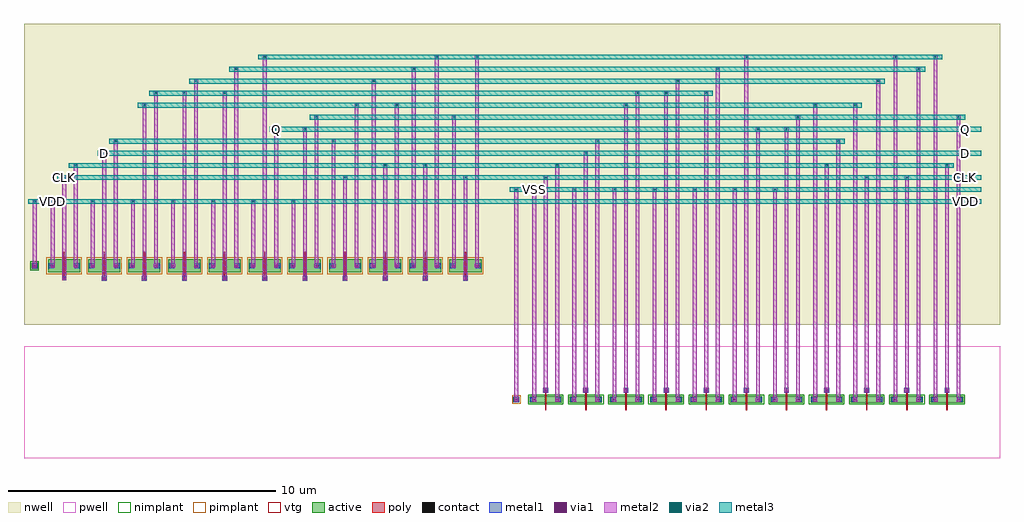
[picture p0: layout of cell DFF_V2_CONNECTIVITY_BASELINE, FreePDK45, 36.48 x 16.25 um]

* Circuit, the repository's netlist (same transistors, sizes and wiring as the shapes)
* cell DFF_V2_CONNECTIVITY_BASELINE
* pin CLK
* pin D
* pin Q
* pin VDD
* pin VSS
.SUBCKT DFF_V2_CONNECTIVITY_BASELINE 1 2 9 13 14
* net 1 CLK
* net 2 D
* net 9 Q
* net 13 VDD
* net 14 VSS
* device instance $1 r0 *1 16.2,7 PMOS_VTG
M$1 12 1 10 13 PMOS_VTG L=0.05U W=0.5U AS=0.2875P AD=0.2875P PS=2.15U PD=2.15U
* device instance $2 r0 *1 14.7,7 PMOS_VTG
M$2 12 4 8 13 PMOS_VTG L=0.05U W=0.5U AS=0.2875P AD=0.2875P PS=2.15U PD=2.15U
* device instance $3 r0 *1 13.2,7 PMOS_VTG
M$3 3 4 7 13 PMOS_VTG L=0.05U W=0.5U AS=0.2875P AD=0.2875P PS=2.15U PD=2.15U
* device instance $4 r0 *1 11.7,7 PMOS_VTG
M$4 3 1 6 13 PMOS_VTG L=0.05U W=0.5U AS=0.2875P AD=0.2875P PS=2.15U PD=2.15U
* device instance $5 r0 *1 10.2,7 PMOS_VTG
M$5 10 9 13 13 PMOS_VTG L=0.05U W=0.5U AS=0.2875P AD=0.2875P PS=2.15U PD=2.15U
* device instance $6 r0 *1 2.7,7 PMOS_VTG
M$6 6 2 13 13 PMOS_VTG L=0.05U W=0.5U AS=0.2875P AD=0.2875P PS=2.15U PD=2.15U
* device instance $7 r0 *1 1.2,7 PMOS_VTG
M$7 4 11 13 13 PMOS_VTG L=0.05U W=0.5U AS=0.2875P AD=0.2875P PS=2.15U PD=2.15U
* device instance $8 r0 *1 8.7,7 PMOS_VTG
M$8 9 12 13 13 PMOS_VTG L=0.05U W=0.5U AS=0.2875P AD=0.2875P PS=2.15U PD=2.15U
* device instance $9 r0 *1 4.2,7 PMOS_VTG
M$9 5 3 13 13 PMOS_VTG L=0.05U W=0.5U AS=0.2875P AD=0.2875P PS=2.15U PD=2.15U
* device instance $10 r0 *1 7.2,7 PMOS_VTG
M$10 8 5 13 13 PMOS_VTG L=0.05U W=0.5U AS=0.2875P AD=0.2875P PS=2.15U PD=2.15U
* device instance $11 r0 *1 5.7,7 PMOS_VTG
M$11 7 5 13 13 PMOS_VTG L=0.05U W=0.5U AS=0.2875P AD=0.2875P PS=2.15U PD=2.15U
* device instance $12 r0 *1 34.2,2 NMOS_VTG
M$12 10 4 12 14 NMOS_VTG L=0.05U W=0.25U AS=0.14375P AD=0.14375P PS=1.65U
+ PD=1.65U
* device instance $13 r0 *1 29.7,2 NMOS_VTG
M$13 6 4 3 14 NMOS_VTG L=0.05U W=0.25U AS=0.14375P AD=0.14375P PS=1.65U PD=1.65U
* device instance $14 r0 *1 32.7,2 NMOS_VTG
M$14 8 1 12 14 NMOS_VTG L=0.05U W=0.25U AS=0.14375P AD=0.14375P PS=1.65U
+ PD=1.65U
* device instance $15 r0 *1 28.2,2 NMOS_VTG
M$15 10 9 14 14 NMOS_VTG L=0.05U W=0.25U AS=0.14375P AD=0.14375P PS=1.65U
+ PD=1.65U
* device instance $16 r0 *1 19.2,2 NMOS_VTG
M$16 4 1 14 14 NMOS_VTG L=0.05U W=0.25U AS=0.14375P AD=0.14375P PS=1.65U
+ PD=1.65U
* device instance $17 r0 *1 31.2,2 NMOS_VTG
M$17 7 1 3 14 NMOS_VTG L=0.05U W=0.25U AS=0.14375P AD=0.14375P PS=1.65U PD=1.65U
* device instance $18 r0 *1 26.7,2 NMOS_VTG
M$18 9 12 14 14 NMOS_VTG L=0.05U W=0.25U AS=0.14375P AD=0.14375P PS=1.65U
+ PD=1.65U
* device instance $19 r0 *1 20.7,2 NMOS_VTG
M$19 6 2 14 14 NMOS_VTG L=0.05U W=0.25U AS=0.14375P AD=0.14375P PS=1.65U
+ PD=1.65U
* device instance $20 r0 *1 23.7,2 NMOS_VTG
M$20 7 5 14 14 NMOS_VTG L=0.05U W=0.25U AS=0.14375P AD=0.14375P PS=1.65U
+ PD=1.65U
* device instance $21 r0 *1 25.2,2 NMOS_VTG
M$21 8 5 14 14 NMOS_VTG L=0.05U W=0.25U AS=0.14375P AD=0.14375P PS=1.65U
+ PD=1.65U
* device instance $22 r0 *1 22.2,2 NMOS_VTG
M$22 5 3 14 14 NMOS_VTG L=0.05U W=0.25U AS=0.14375P AD=0.14375P PS=1.65U
+ PD=1.65U
.ENDS DFF_V2_CONNECTIVITY_BASELINE

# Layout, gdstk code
import gdstk
lib = gdstk.Library(unit=1e-6, precision=5e-10)
def R(c, l, rs):  # rectangles x0, y0, x1, y1
    for r in rs: c.add(gdstk.rectangle(r[:2], r[2:], *l))
def A(c, l, x, y, w, h, nx, ny, dx, dy):  # array of equal rectangles
    R(c, l, [(x+i*dx, y+j*dy, x+i*dx+w, y+j*dy+h) for i in range(nx) for j in range(ny)])
active = (1, 0)
pwell = (2, 0)
nwell = (3, 0)
nimplant = (4, 0)
pimplant = (5, 0)
vtg = (6, 0)
poly = (9, 0)
contact = (10, 0)
metal1 = (11, 0)
via1 = (12, 0)
metal2 = (13, 0)
via2 = (14, 0)
metal3 = (15, 0)

dff_v2_connectivity_base = lib.new_cell('DFF_V2_CONNECTIVITY_BASELINE')
A(dff_v2_connectivity_base, active, 18.6, 1.875, 1.2, 0.25, 11, 1, 1.5, 0)
A(dff_v2_connectivity_base, active, 0.6, 6.75, 1.2, 0.5, 11, 1, 1.5, 0)
R(dff_v2_connectivity_base, active, [(17.99,1.89,18.21,2.11), (-0.01,6.89,0.21,7.11)])
R(dff_v2_connectivity_base, pwell, [(-0.3,-0.2,36.18,4)])
R(dff_v2_connectivity_base, nwell, [(-0.3,4.8,36.18,16.05)])
A(dff_v2_connectivity_base, nimplant, 18.54, 1.815, 1.32, 0.37, 11, 1, 1.5, 0)
R(dff_v2_connectivity_base, nimplant, [(-0.06,6.84,0.26,7.16)])
A(dff_v2_connectivity_base, pimplant, 0.54, 6.69, 1.32, 0.62, 11, 1, 1.5, 0)
R(dff_v2_connectivity_base, pimplant, [(17.94,1.84,18.26,2.16)])
A(dff_v2_connectivity_base, vtg, 19.165, 1.845, 0.07, 0.31, 11, 1, 1.5, 0)
A(dff_v2_connectivity_base, vtg, 1.165, 6.72, 0.07, 0.56, 11, 1, 1.5, 0)
A(dff_v2_connectivity_base, poly, 19.175, 1.595, 0.05, 0.81, 11, 1, 1.5, 0)
A(dff_v2_connectivity_base, poly, 1.175, 6.47, 0.05, 1.06, 11, 1, 1.5, 0)
A(dff_v2_connectivity_base, contact, 19.17, 2.315, 0.065, 0.065, 11, 1, 1.5, 0)
A(dff_v2_connectivity_base, contact, 2.67, 6.5, 0.065, 0.065, 10, 1, 1.5, 0)
R(dff_v2_connectivity_base, contact, [(18.07,1.97,18.135,2.035), (18.69,1.97,18.755,2.035), (19.65,1.97,19.715,2.035), (20.19,1.97,20.255,2.035), (21.15,1.97,21.215,2.035), (21.69,1.97,21.755,2.035), (22.65,1.97,22.715,2.035), (23.19,1.97,23.255,2.035), (24.15,1.97,24.215,2.035), (24.69,1.97,24.755,2.035), (25.65,1.97,25.715,2.035), (26.19,1.97,26.255,2.035), (27.15,1.97,27.215,2.035), (27.69,1.97,27.755,2.035), (28.65,1.97,28.715,2.035), (29.19,1.97,29.255,2.035), (30.15,1.97,30.215,2.035), (30.69,1.97,30.755,2.035), (31.65,1.97,31.715,2.035), (32.19,1.97,32.255,2.035), (33.15,1.97,33.215,2.035), (33.69,1.97,33.755,2.035), (34.65,1.97,34.715,2.035), (0.07,6.97,0.135,7.035), (0.69,6.97,0.755,7.035), (1.65,6.97,1.715,7.035), (2.19,6.97,2.255,7.035), (3.15,6.97,3.215,7.035), (3.69,6.97,3.755,7.035), (4.65,6.97,4.715,7.035), (5.19,6.97,5.255,7.035), (6.15,6.97,6.215,7.035), (6.69,6.97,6.755,7.035), (7.65,6.97,7.715,7.035), (8.19,6.97,8.255,7.035), (9.15,6.97,9.215,7.035), (9.69,6.97,9.755,7.035), (10.65,6.97,10.715,7.035), (11.19,6.97,11.255,7.035), (12.15,6.97,12.215,7.035), (12.69,6.97,12.755,7.035), (13.65,6.97,13.715,7.035), (14.19,6.97,14.255,7.035), (15.15,6.97,15.215,7.035), (15.69,6.97,15.755,7.035), (16.65,6.97,16.715,7.035)])
A(dff_v2_connectivity_base, metal1, 19.11, 2.255, 0.18, 0.18, 11, 1, 1.5, 0)
A(dff_v2_connectivity_base, metal1, 19.125, 2.27, 0.15, 0.15, 11, 1, 1.5, 0)
A(dff_v2_connectivity_base, metal1, 2.61, 6.44, 0.18, 0.18, 10, 1, 1.5, 0)
A(dff_v2_connectivity_base, metal1, 1.125, 6.455, 0.15, 0.15, 11, 1, 1.5, 0)
R(dff_v2_connectivity_base, metal1, [(18,1.9,18.2,2.1), (18.63,1.91,18.81,2.09), (19.59,1.91,19.77,2.09), (20.13,1.91,20.31,2.09), (21.09,1.91,21.27,2.09), (21.63,1.91,21.81,2.09), (22.59,1.91,22.77,2.09), (23.13,1.91,23.31,2.09), (24.09,1.91,24.27,2.09), (24.63,1.91,24.81,2.09), (25.59,1.91,25.77,2.09), (26.13,1.91,26.31,2.09), (27.09,1.91,27.27,2.09), (27.63,1.91,27.81,2.09), (28.59,1.91,28.77,2.09), (29.13,1.91,29.31,2.09), (30.09,1.91,30.27,2.09), (30.63,1.91,30.81,2.09), (31.59,1.91,31.77,2.09), (32.13,1.91,32.31,2.09), (33.09,1.91,33.27,2.09), (33.63,1.91,33.81,2.09), (34.59,1.91,34.77,2.09), (18.025,1.925,18.175,2.075), (18.025,1.925,18.175,2.075), (18.025,1.925,18.175,2.075), (18.025,1.925,18.175,2.075), (18.025,1.925,18.175,2.075), (18.025,1.925,18.175,2.075), (18.025,1.925,18.175,2.075), (18.025,1.925,18.175,2.075), (18.025,1.925,18.175,2.075), (18.025,1.925,18.175,2.075), (18.025,1.925,18.175,2.075), (18.025,1.925,18.175,2.075), (18.695,1.925,18.845,2.075), (19.555,1.925,19.705,2.075), (20.195,1.925,20.345,2.075), (21.055,1.925,21.205,2.075), (21.695,1.925,21.845,2.075), (22.555,1.925,22.705,2.075), (23.195,1.925,23.345,2.075), (24.055,1.925,24.205,2.075), (24.695,1.925,24.845,2.075), (25.555,1.925,25.705,2.075), (26.195,1.925,26.345,2.075), (27.055,1.925,27.205,2.075), (27.695,1.925,27.845,2.075), (28.555,1.925,28.705,2.075), (29.195,1.925,29.345,2.075), (30.055,1.925,30.205,2.075), (30.695,1.925,30.845,2.075), (31.555,1.925,31.705,2.075), (32.195,1.925,32.345,2.075), (33.055,1.925,33.205,2.075), (33.695,1.925,33.845,2.075), (34.555,1.925,34.705,2.075), (0,6.9,0.2,7.1), (0.63,6.91,0.81,7.09), (1.59,6.91,1.77,7.09), (2.13,6.91,2.31,7.09), (3.09,6.91,3.27,7.09), (3.63,6.91,3.81,7.09), (4.59,6.91,4.77,7.09), (5.13,6.91,5.31,7.09), (6.09,6.91,6.27,7.09), (6.63,6.91,6.81,7.09), (7.59,6.91,7.77,7.09), (8.13,6.91,8.31,7.09), (9.09,6.91,9.27,7.09), (9.63,6.91,9.81,7.09), (10.59,6.91,10.77,7.09), (11.13,6.91,11.31,7.09), (12.09,6.91,12.27,7.09), (12.63,6.91,12.81,7.09), (13.59,6.91,13.77,7.09), (14.13,6.91,14.31,7.09), (15.09,6.91,15.27,7.09), (15.63,6.91,15.81,7.09), (16.59,6.91,16.77,7.09), (0.025,6.925,0.175,7.075), (0.025,6.925,0.175,7.075), (0.025,6.925,0.175,7.075), (0.025,6.925,0.175,7.075), (0.025,6.925,0.175,7.075), (0.025,6.925,0.175,7.075), (0.025,6.925,0.175,7.075), (0.025,6.925,0.175,7.075), (0.025,6.925,0.175,7.075), (0.025,6.925,0.175,7.075), (0.025,6.925,0.175,7.075), (0.025,6.925,0.175,7.075), (0.695,6.925,0.845,7.075), (1.555,6.925,1.705,7.075), (2.195,6.925,2.345,7.075), (3.055,6.925,3.205,7.075), (3.695,6.925,3.845,7.075), (4.555,6.925,4.705,7.075), (5.195,6.925,5.345,7.075), (6.055,6.925,6.205,7.075), (6.695,6.925,6.845,7.075), (7.555,6.925,7.705,7.075), (8.195,6.925,8.345,7.075), (9.055,6.925,9.205,7.075), (9.695,6.925,9.845,7.075), (10.555,6.925,10.705,7.075), (11.195,6.925,11.345,7.075), (12.055,6.925,12.205,7.075), (12.695,6.925,12.845,7.075), (13.555,6.925,13.705,7.075), (14.195,6.925,14.345,7.075), (15.055,6.925,15.205,7.075), (15.695,6.925,15.845,7.075), (16.555,6.925,16.705,7.075)])
A(dff_v2_connectivity_base, via1, 19.17, 2.315, 0.065, 0.065, 11, 1, 1.5, 0)
A(dff_v2_connectivity_base, via1, 1.17, 6.5, 0.065, 0.065, 11, 1, 1.5, 0)
R(dff_v2_connectivity_base, via1, [(18.07,1.97,18.135,2.035), (18.07,1.97,18.135,2.035), (18.07,1.97,18.135,2.035), (18.07,1.97,18.135,2.035), (18.07,1.97,18.135,2.035), (18.07,1.97,18.135,2.035), (18.07,1.97,18.135,2.035), (18.07,1.97,18.135,2.035), (18.07,1.97,18.135,2.035), (18.07,1.97,18.135,2.035), (18.07,1.97,18.135,2.035), (18.07,1.97,18.135,2.035), (18.74,1.97,18.805,2.035), (19.6,1.97,19.665,2.035), (20.24,1.97,20.305,2.035), (21.1,1.97,21.165,2.035), (21.74,1.97,21.805,2.035), (22.6,1.97,22.665,2.035), (23.24,1.97,23.305,2.035), (24.1,1.97,24.165,2.035), (24.74,1.97,24.805,2.035), (25.6,1.97,25.665,2.035), (26.24,1.97,26.305,2.035), (27.1,1.97,27.165,2.035), (27.74,1.97,27.805,2.035), (28.6,1.97,28.665,2.035), (29.24,1.97,29.305,2.035), (30.1,1.97,30.165,2.035), (30.74,1.97,30.805,2.035), (31.6,1.97,31.665,2.035), (32.24,1.97,32.305,2.035), (33.1,1.97,33.165,2.035), (33.74,1.97,33.805,2.035), (34.6,1.97,34.665,2.035), (0.07,6.97,0.135,7.035), (0.07,6.97,0.135,7.035), (0.07,6.97,0.135,7.035), (0.07,6.97,0.135,7.035), (0.07,6.97,0.135,7.035), (0.07,6.97,0.135,7.035), (0.07,6.97,0.135,7.035), (0.07,6.97,0.135,7.035), (0.07,6.97,0.135,7.035), (0.07,6.97,0.135,7.035), (0.07,6.97,0.135,7.035), (0.07,6.97,0.135,7.035), (0.74,6.97,0.805,7.035), (1.6,6.97,1.665,7.035), (2.24,6.97,2.305,7.035), (3.1,6.97,3.165,7.035), (3.74,6.97,3.805,7.035), (4.6,6.97,4.665,7.035), (5.24,6.97,5.305,7.035), (6.1,6.97,6.165,7.035), (6.74,6.97,6.805,7.035), (7.6,6.97,7.665,7.035), (8.24,6.97,8.305,7.035), (9.1,6.97,9.165,7.035), (9.74,6.97,9.805,7.035), (10.6,6.97,10.665,7.035), (11.24,6.97,11.305,7.035), (12.1,6.97,12.165,7.035), (12.74,6.97,12.805,7.035), (13.6,6.97,13.665,7.035), (14.24,6.97,14.305,7.035), (15.1,6.97,15.165,7.035), (15.74,6.97,15.805,7.035), (16.6,6.97,16.665,7.035)])
A(dff_v2_connectivity_base, metal2, 18.7, 2, 0.14, 7.85, 7, 1, 1.5, 0)
A(dff_v2_connectivity_base, metal2, 19.125, 2.27, 0.15, 0.15, 11, 1, 1.5, 0)
A(dff_v2_connectivity_base, metal2, 1.125, 6.455, 0.15, 0.15, 11, 1, 1.5, 0)
A(dff_v2_connectivity_base, metal2, 0.7, 7, 0.14, 2.4, 7, 1, 1.5, 0)
A(dff_v2_connectivity_base, metal2, 0.695, 9.325, 0.15, 0.15, 7, 1, 1.5, 0)
A(dff_v2_connectivity_base, metal2, 18.695, 9.775, 0.15, 0.15, 7, 1, 1.5, 0)
R(dff_v2_connectivity_base, metal2, [(18.025,1.925,18.175,2.075), (18.025,1.925,18.175,2.075), (18.025,1.925,18.175,2.075), (18.025,1.925,18.175,2.075), (18.025,1.925,18.175,2.075), (18.025,1.925,18.175,2.075), (18.025,1.925,18.175,2.075), (18.025,1.925,18.175,2.075), (18.025,1.925,18.175,2.075), (18.025,1.925,18.175,2.075), (18.025,1.925,18.175,2.075), (18.025,1.925,18.175,2.075), (18.695,1.925,18.845,2.075), (19.555,1.925,19.705,2.075), (20.195,1.925,20.345,2.075), (21.055,1.925,21.205,2.075), (21.695,1.925,21.845,2.075), (22.555,1.925,22.705,2.075), (23.195,1.925,23.345,2.075), (24.055,1.925,24.205,2.075), (24.695,1.925,24.845,2.075), (25.555,1.925,25.705,2.075), (26.195,1.925,26.345,2.075), (27.055,1.925,27.205,2.075), (27.695,1.925,27.845,2.075), (28.555,1.925,28.705,2.075), (29.195,1.925,29.345,2.075), (30.055,1.925,30.205,2.075), (30.695,1.925,30.845,2.075), (31.555,1.925,31.705,2.075), (32.195,1.925,32.345,2.075), (33.055,1.925,33.205,2.075), (33.695,1.925,33.845,2.075), (34.555,1.925,34.705,2.075), (18.03,2,18.17,9.85), (18.03,2,18.17,9.85), (18.03,2,18.17,9.85), (18.03,2,18.17,9.85), (18.03,2,18.17,9.85), (18.03,2,18.17,9.85), (18.03,2,18.17,9.85), (18.03,2,18.17,9.85), (18.03,2,18.17,9.85), (18.03,2,18.17,9.85), (18.03,2,18.17,9.85), (18.03,2,18.17,9.85), (19.56,2,19.7,10.75), (21.06,2,21.2,11.65), (22.56,2,22.7,13.45), (24.06,2,24.2,13.9), (25.56,2,25.7,14.35), (27.06,2,27.2,12.1), (28.56,2,28.7,12.55), (29.2,2,29.34,13), (30.06,2,30.2,11.65), (30.7,2,30.84,13), (31.56,2,31.7,13.9), (32.2,2,32.34,14.8), (33.06,2,33.2,14.35), (33.7,2,33.84,14.8), (34.56,2,34.7,12.55), (19.13,2.345,19.27,10.3), (20.63,2.345,20.77,11.2), (22.13,2.345,22.27,13), (23.63,2.345,23.77,13.45), (25.13,2.345,25.27,13.45), (26.63,2.345,26.77,14.8), (28.13,2.345,28.27,12.1), (29.63,2.345,29.77,10.75), (31.13,2.345,31.27,10.3), (32.63,2.345,32.77,10.3), (34.13,2.345,34.27,10.75), (1.13,6.53,1.27,10.3), (2.63,6.53,2.77,11.2), (4.13,6.53,4.27,13), (5.63,6.53,5.77,13.45), (7.13,6.53,7.27,13.45), (8.63,6.53,8.77,14.8), (10.13,6.53,10.27,12.1), (11.63,6.53,11.77,10.3), (13.13,6.53,13.27,10.75), (14.63,6.53,14.77,10.75), (16.13,6.53,16.27,10.3), (0.025,6.925,0.175,7.075), (0.025,6.925,0.175,7.075), (0.025,6.925,0.175,7.075), (0.025,6.925,0.175,7.075), (0.025,6.925,0.175,7.075), (0.025,6.925,0.175,7.075), (0.025,6.925,0.175,7.075), (0.025,6.925,0.175,7.075), (0.025,6.925,0.175,7.075), (0.025,6.925,0.175,7.075), (0.025,6.925,0.175,7.075), (0.025,6.925,0.175,7.075), (0.695,6.925,0.845,7.075), (1.555,6.925,1.705,7.075), (2.195,6.925,2.345,7.075), (3.055,6.925,3.205,7.075), (3.695,6.925,3.845,7.075), (4.555,6.925,4.705,7.075), (5.195,6.925,5.345,7.075), (6.055,6.925,6.205,7.075), (6.695,6.925,6.845,7.075), (7.555,6.925,7.705,7.075), (8.195,6.925,8.345,7.075), (9.055,6.925,9.205,7.075), (9.695,6.925,9.845,7.075), (10.555,6.925,10.705,7.075), (11.195,6.925,11.345,7.075), (12.055,6.925,12.205,7.075), (12.695,6.925,12.845,7.075), (13.555,6.925,13.705,7.075), (14.195,6.925,14.345,7.075), (15.055,6.925,15.205,7.075), (15.695,6.925,15.845,7.075), (16.555,6.925,16.705,7.075), (0.03,7,0.17,9.4), (0.03,7,0.17,9.4), (0.03,7,0.17,9.4), (0.03,7,0.17,9.4), (0.03,7,0.17,9.4), (0.03,7,0.17,9.4), (0.03,7,0.17,9.4), (0.03,7,0.17,9.4), (0.03,7,0.17,9.4), (0.03,7,0.17,9.4), (0.03,7,0.17,9.4), (0.03,7,0.17,9.4), (1.56,7,1.7,10.75), (3.06,7,3.2,11.65), (4.56,7,4.7,13.45), (6.06,7,6.2,13.9), (7.56,7,7.7,14.35), (9.06,7,9.2,12.1), (10.56,7,10.7,12.55), (11.2,7,11.34,11.65), (12.06,7,12.2,13), (12.7,7,12.84,13.9), (13.56,7,13.7,13), (14.2,7,14.34,14.35), (15.06,7,15.2,14.8), (15.7,7,15.84,12.55), (16.56,7,16.7,14.8), (0.025,9.325,0.175,9.475), (0.025,9.325,0.175,9.475), (0.025,9.325,0.175,9.475), (0.025,9.325,0.175,9.475), (0.025,9.325,0.175,9.475), (0.025,9.325,0.175,9.475), (0.025,9.325,0.175,9.475), (0.025,9.325,0.175,9.475), (0.025,9.325,0.175,9.475), (0.025,9.325,0.175,9.475), (0.025,9.325,0.175,9.475), (0.025,9.325,0.175,9.475), (18.025,9.775,18.175,9.925), (18.025,9.775,18.175,9.925), (18.025,9.775,18.175,9.925), (18.025,9.775,18.175,9.925), (18.025,9.775,18.175,9.925), (18.025,9.775,18.175,9.925), (18.025,9.775,18.175,9.925), (18.025,9.775,18.175,9.925), (18.025,9.775,18.175,9.925), (18.025,9.775,18.175,9.925), (18.025,9.775,18.175,9.925), (18.025,9.775,18.175,9.925), (1.125,10.225,1.275,10.375), (11.625,10.225,11.775,10.375), (16.125,10.225,16.275,10.375), (19.125,10.225,19.275,10.375), (31.125,10.225,31.275,10.375), (32.625,10.225,32.775,10.375), (1.555,10.675,1.705,10.825), (13.125,10.675,13.275,10.825), (14.625,10.675,14.775,10.825), (19.555,10.675,19.705,10.825), (29.625,10.675,29.775,10.825), (34.125,10.675,34.275,10.825), (2.625,11.125,2.775,11.275), (20.625,11.125,20.775,11.275), (3.055,11.575,3.205,11.725), (11.195,11.575,11.345,11.725), (21.055,11.575,21.205,11.725), (30.055,11.575,30.205,11.725), (9.055,12.025,9.205,12.175), (10.125,12.025,10.275,12.175), (27.055,12.025,27.205,12.175), (28.125,12.025,28.275,12.175), (10.555,12.475,10.705,12.625), (15.695,12.475,15.845,12.625), (28.555,12.475,28.705,12.625), (34.555,12.475,34.705,12.625), (4.125,12.925,4.275,13.075), (12.055,12.925,12.205,13.075), (13.555,12.925,13.705,13.075), (22.125,12.925,22.275,13.075), (29.195,12.925,29.345,13.075), (30.695,12.925,30.845,13.075), (4.555,13.375,4.705,13.525), (5.625,13.375,5.775,13.525), (7.125,13.375,7.275,13.525), (22.555,13.375,22.705,13.525), (23.625,13.375,23.775,13.525), (25.125,13.375,25.275,13.525), (6.055,13.825,6.205,13.975), (12.695,13.825,12.845,13.975), (24.055,13.825,24.205,13.975), (31.555,13.825,31.705,13.975), (7.555,14.275,7.705,14.425), (14.195,14.275,14.345,14.425), (25.555,14.275,25.705,14.425), (33.055,14.275,33.205,14.425), (8.625,14.725,8.775,14.875), (15.055,14.725,15.205,14.875), (16.555,14.725,16.705,14.875), (26.625,14.725,26.775,14.875), (32.195,14.725,32.345,14.875), (33.695,14.725,33.845,14.875)])
A(dff_v2_connectivity_base, via2, 0.74, 9.37, 0.065, 0.065, 7, 1, 1.5, 0)
A(dff_v2_connectivity_base, via2, 18.74, 9.82, 0.065, 0.065, 7, 1, 1.5, 0)
R(dff_v2_connectivity_base, via2, [(0.07,9.37,0.135,9.435), (0.07,9.37,0.135,9.435), (0.07,9.37,0.135,9.435), (0.07,9.37,0.135,9.435), (0.07,9.37,0.135,9.435), (0.07,9.37,0.135,9.435), (0.07,9.37,0.135,9.435), (0.07,9.37,0.135,9.435), (0.07,9.37,0.135,9.435), (0.07,9.37,0.135,9.435), (0.07,9.37,0.135,9.435), (0.07,9.37,0.135,9.435), (18.07,9.82,18.135,9.885), (18.07,9.82,18.135,9.885), (18.07,9.82,18.135,9.885), (18.07,9.82,18.135,9.885), (18.07,9.82,18.135,9.885), (18.07,9.82,18.135,9.885), (18.07,9.82,18.135,9.885), (18.07,9.82,18.135,9.885), (18.07,9.82,18.135,9.885), (18.07,9.82,18.135,9.885), (18.07,9.82,18.135,9.885), (18.07,9.82,18.135,9.885), (1.17,10.27,1.235,10.335), (11.67,10.27,11.735,10.335), (16.17,10.27,16.235,10.335), (19.17,10.27,19.235,10.335), (31.17,10.27,31.235,10.335), (32.67,10.27,32.735,10.335), (1.6,10.72,1.665,10.785), (13.17,10.72,13.235,10.785), (14.67,10.72,14.735,10.785), (19.6,10.72,19.665,10.785), (29.67,10.72,29.735,10.785), (34.17,10.72,34.235,10.785), (2.67,11.17,2.735,11.235), (20.67,11.17,20.735,11.235), (3.1,11.62,3.165,11.685), (11.24,11.62,11.305,11.685), (21.1,11.62,21.165,11.685), (30.1,11.62,30.165,11.685), (9.1,12.07,9.165,12.135), (10.17,12.07,10.235,12.135), (27.1,12.07,27.165,12.135), (28.17,12.07,28.235,12.135), (10.6,12.52,10.665,12.585), (15.74,12.52,15.805,12.585), (28.6,12.52,28.665,12.585), (34.6,12.52,34.665,12.585), (4.17,12.97,4.235,13.035), (12.1,12.97,12.165,13.035), (13.6,12.97,13.665,13.035), (22.17,12.97,22.235,13.035), (29.24,12.97,29.305,13.035), (30.74,12.97,30.805,13.035), (4.6,13.42,4.665,13.485), (5.67,13.42,5.735,13.485), (7.17,13.42,7.235,13.485), (22.6,13.42,22.665,13.485), (23.67,13.42,23.735,13.485), (25.17,13.42,25.235,13.485), (6.1,13.87,6.165,13.935), (12.74,13.87,12.805,13.935), (24.1,13.87,24.165,13.935), (31.6,13.87,31.665,13.935), (7.6,14.32,7.665,14.385), (14.24,14.32,14.305,14.385), (25.6,14.32,25.665,14.385), (33.1,14.32,33.165,14.385), (8.67,14.77,8.735,14.835), (15.1,14.77,15.165,14.835), (16.6,14.77,16.665,14.835), (26.67,14.77,26.735,14.835), (32.24,14.77,32.305,14.835), (33.74,14.77,33.805,14.835)])
A(dff_v2_connectivity_base, metal3, 0.695, 9.325, 0.15, 0.15, 7, 1, 1.5, 0)
A(dff_v2_connectivity_base, metal3, 18.695, 9.775, 0.15, 0.15, 7, 1, 1.5, 0)
R(dff_v2_connectivity_base, metal3, [(-0.15,9.31,10.02,9.49), (10.02,9.31,35.48,9.49), (0.025,9.325,0.175,9.475), (0.025,9.325,0.175,9.475), (0.025,9.325,0.175,9.475), (0.025,9.325,0.175,9.475), (0.025,9.325,0.175,9.475), (0.025,9.325,0.175,9.475), (0.025,9.325,0.175,9.475), (0.025,9.325,0.175,9.475), (0.025,9.325,0.175,9.475), (0.025,9.325,0.175,9.475), (0.025,9.325,0.175,9.475), (0.025,9.325,0.175,9.475), (17.85,9.76,28.02,9.94), (28.02,9.76,35.48,9.94), (18.025,9.775,18.175,9.925), (18.025,9.775,18.175,9.925), (18.025,9.775,18.175,9.925), (18.025,9.775,18.175,9.925), (18.025,9.775,18.175,9.925), (18.025,9.775,18.175,9.925), (18.025,9.775,18.175,9.925), (18.025,9.775,18.175,9.925), (18.025,9.775,18.175,9.925), (18.025,9.775,18.175,9.925), (18.025,9.775,18.175,9.925), (18.025,9.775,18.175,9.925), (0.95,10.21,32.95,10.39), (32.95,10.21,35.48,10.39), (1.125,10.225,1.275,10.375), (11.625,10.225,11.775,10.375), (16.125,10.225,16.275,10.375), (19.125,10.225,19.275,10.375), (31.125,10.225,31.275,10.375), (32.625,10.225,32.775,10.375), (1.38,10.66,34.45,10.84), (1.555,10.675,1.705,10.825), (13.125,10.675,13.275,10.825), (14.625,10.675,14.775,10.825), (19.555,10.675,19.705,10.825), (29.625,10.675,29.775,10.825), (34.125,10.675,34.275,10.825), (2.45,11.11,20.95,11.29), (20.95,11.11,35.48,11.29), (2.625,11.125,2.775,11.275), (20.625,11.125,20.775,11.275), (2.88,11.56,30.38,11.74), (3.055,11.575,3.205,11.725), (11.195,11.575,11.345,11.725), (21.055,11.575,21.205,11.725), (30.055,11.575,30.205,11.725), (8.88,12.01,28.45,12.19), (28.45,12.01,35.48,12.19), (9.055,12.025,9.205,12.175), (10.125,12.025,10.275,12.175), (27.055,12.025,27.205,12.175), (28.125,12.025,28.275,12.175), (10.38,12.46,34.88,12.64), (10.555,12.475,10.705,12.625), (15.695,12.475,15.845,12.625), (28.555,12.475,28.705,12.625), (34.555,12.475,34.705,12.625), (3.95,12.91,31.02,13.09), (4.125,12.925,4.275,13.075), (12.055,12.925,12.205,13.075), (13.555,12.925,13.705,13.075), (22.125,12.925,22.275,13.075), (29.195,12.925,29.345,13.075), (30.695,12.925,30.845,13.075), (4.38,13.36,25.45,13.54), (4.555,13.375,4.705,13.525), (5.625,13.375,5.775,13.525), (7.125,13.375,7.275,13.525), (22.555,13.375,22.705,13.525), (23.625,13.375,23.775,13.525), (25.125,13.375,25.275,13.525), (5.88,13.81,31.88,13.99), (6.055,13.825,6.205,13.975), (12.695,13.825,12.845,13.975), (24.055,13.825,24.205,13.975), (31.555,13.825,31.705,13.975), (7.38,14.26,33.38,14.44), (7.555,14.275,7.705,14.425), (14.195,14.275,14.345,14.425), (25.555,14.275,25.705,14.425), (33.055,14.275,33.205,14.425), (8.45,14.71,34.02,14.89), (8.625,14.725,8.775,14.875), (15.055,14.725,15.205,14.875), (16.555,14.725,16.705,14.875), (26.625,14.725,26.775,14.875), (32.195,14.725,32.345,14.875), (33.695,14.725,33.845,14.875)])
dff_v2_connectivity_base.add(gdstk.Label('VDD', (34.88,9.4), layer=15, texttype=0))
dff_v2_connectivity_base.add(gdstk.Label('VDD', (34.88,9.4), layer=15, texttype=1))
dff_v2_connectivity_base.add(gdstk.Label('VDD', (34.88,9.4), layer=15, texttype=2))
dff_v2_connectivity_base.add(gdstk.Label('VDD', (0.77,9.4), layer=13, texttype=0))
dff_v2_connectivity_base.add(gdstk.Label('VDD', (0.77,9.4), layer=13, texttype=1))
dff_v2_connectivity_base.add(gdstk.Label('VDD', (0.77,9.4), layer=13, texttype=2))
dff_v2_connectivity_base.add(gdstk.Label('VSS', (34.88,9.85), layer=15, texttype=0))
dff_v2_connectivity_base.add(gdstk.Label('VSS', (34.88,9.85), layer=15, texttype=1))
dff_v2_connectivity_base.add(gdstk.Label('VSS', (34.88,9.85), layer=15, texttype=2))
dff_v2_connectivity_base.add(gdstk.Label('VSS', (18.77,9.85), layer=13, texttype=0))
dff_v2_connectivity_base.add(gdstk.Label('VSS', (18.77,9.85), layer=13, texttype=1))
dff_v2_connectivity_base.add(gdstk.Label('VSS', (18.77,9.85), layer=13, texttype=2))
dff_v2_connectivity_base.add(gdstk.Label('D', (34.88,11.2), layer=15, texttype=0))
dff_v2_connectivity_base.add(gdstk.Label('D', (34.88,11.2), layer=15, texttype=1))
dff_v2_connectivity_base.add(gdstk.Label('D', (34.88,11.2), layer=15, texttype=2))
dff_v2_connectivity_base.add(gdstk.Label('D', (2.7,11.2), layer=13, texttype=0))
dff_v2_connectivity_base.add(gdstk.Label('D', (2.7,11.2), layer=13, texttype=1))
dff_v2_connectivity_base.add(gdstk.Label('D', (2.7,11.2), layer=13, texttype=2))
dff_v2_connectivity_base.add(gdstk.Label('Q', (34.88,12.1), layer=15, texttype=0))
dff_v2_connectivity_base.add(gdstk.Label('Q', (34.88,12.1), layer=15, texttype=1))
dff_v2_connectivity_base.add(gdstk.Label('Q', (34.88,12.1), layer=15, texttype=2))
dff_v2_connectivity_base.add(gdstk.Label('Q', (9.13,12.1), layer=13, texttype=0))
dff_v2_connectivity_base.add(gdstk.Label('Q', (9.13,12.1), layer=13, texttype=1))
dff_v2_connectivity_base.add(gdstk.Label('Q', (9.13,12.1), layer=13, texttype=2))
dff_v2_connectivity_base.add(gdstk.Label('CLK', (34.88,10.3), layer=15, texttype=0))
dff_v2_connectivity_base.add(gdstk.Label('CLK', (34.88,10.3), layer=15, texttype=1))
dff_v2_connectivity_base.add(gdstk.Label('CLK', (34.88,10.3), layer=15, texttype=2))
dff_v2_connectivity_base.add(gdstk.Label('CLK', (1.2,10.3), layer=13, texttype=0))
dff_v2_connectivity_base.add(gdstk.Label('CLK', (1.2,10.3), layer=13, texttype=1))
dff_v2_connectivity_base.add(gdstk.Label('CLK', (1.2,10.3), layer=13, texttype=2))

lib.write_gds('DFF_V2_CONNECTIVITY_BASELINE.gds')
